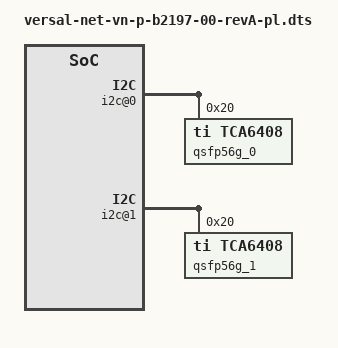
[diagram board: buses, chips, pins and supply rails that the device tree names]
// SPDX-License-Identifier: GPL-2.0
/*
 * dts file for Xilinx ZynqMP VN-P-B2197 (Tenzing2)
 *
 * (C) Copyright 2022, Advanced Micro Devices, Inc.
 *
 * Michal Simek <michal.simek@amd.com>
 */

	i2c-mux@70 {
		compatible = "nxp,pca9545";
		#address-cells = <1>;
		#size-cells = <0>;
		reg = <0x70>;
		i2c@0 {
			#address-cells = <1>;
			#size-cells = <0>;

			qsfp56g_0: gpio@20 { /* u118 */
				compatible = "ti,tca6408";
				reg = <0x20>;
				gpio-controller;
				#gpio-cells = <2>;
				gpio-line-names = "QSFP56G_0_OC_B", "QSFP56G_0_PWR_EN", /* 0, 1 */
						"QSFP56G_0_LED_1", "QSFP56G_0_LED_0", /* 2, 3 */
						"QSFP56G_0_MODPRS_B", "QSFP56G_0_LPMODE", /* 4, 5 */
						"QSFP56G_0_RESET_B", "QSFP56G_0_MODSEL_B"; /* 6, 7 */
			};
		};
		i2c@1 {
			#address-cells = <1>;
			#size-cells = <0>;

			qsfp56g_1: gpio@20 { /* u117 */
				compatible = "ti,tca6408";
				reg = <0x20>;
				gpio-controller;
				#gpio-cells = <2>;
				gpio-line-names = "QSFP56G_1_OC_B", "QSFP56G_1_PWR_EN", /* 0, 1 */
						"QSFP56G_1_LED_1", "QSFP56G_1_LED_0", /* 2, 3 */
						"QSFP56G_1_MODPRS_B", "QSFP56G_1_LPMODE", /* 4, 5 */
						"QSFP56G_1_RESET_B", "QSFP56G_1_MODSEL_B"; /* 6, 7 */
			};
		};
		i2c@2 {
			#address-cells = <1>;
			#size-cells = <0>;
			/* J48 connector */
		};
		i2c@3 {
			#address-cells = <1>;
			#size-cells = <0>;
			/* J47 connector */
		};
	};
/*
	GPIO_DIP_SW0-1
	GPIO_LED0-1
	GPIO_PB0-1
	GPIO_SMA
*/
